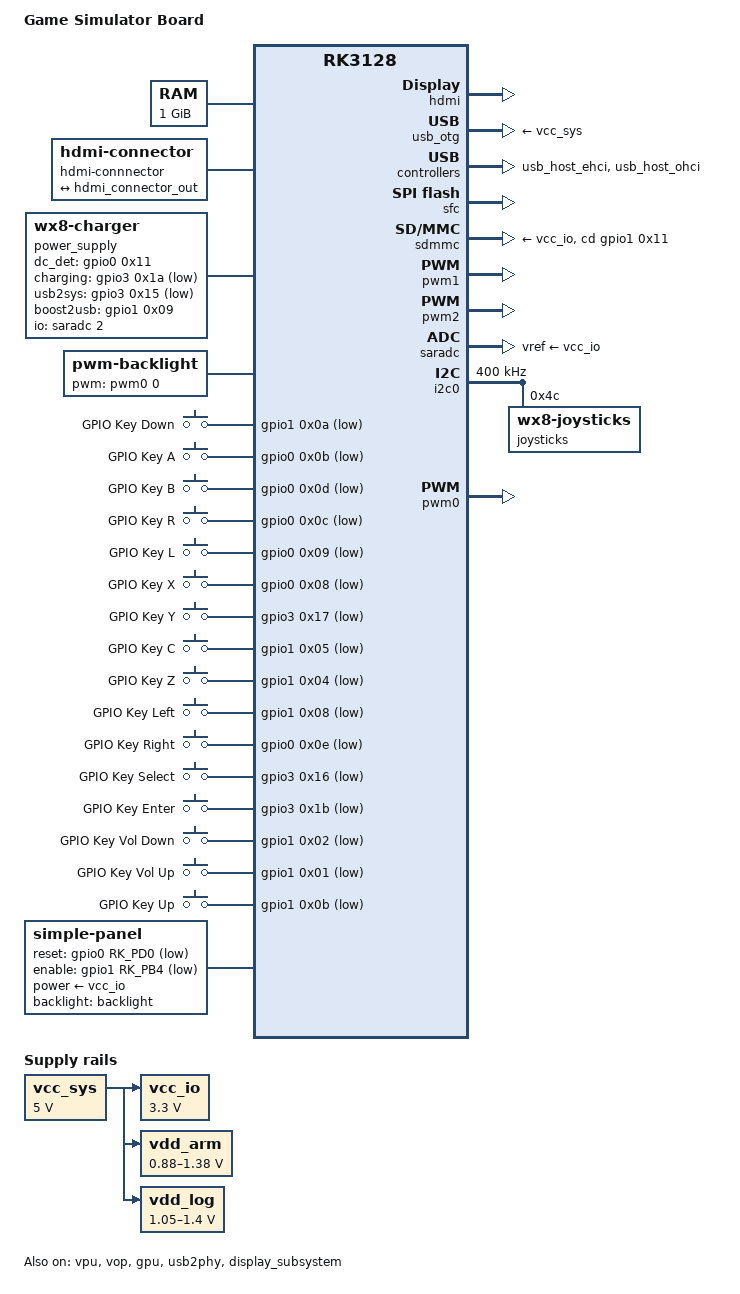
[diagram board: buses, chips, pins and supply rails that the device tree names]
/*
 * (C) Copyright 2017 Rockchip Electronics Co., Ltd
 * (C) Copyright 2021 Martin Cerveny
 *
 * SPDX-License-Identifier:     GPL-2.0+
 */

/dts-v1/;

#include <dt-bindings/input/input.h>
#include <dt-bindings/leds/common.h>

#include "rockchip/rk3128.dtsi"

/ {
	model = "Game Simulator Board";
	compatible = "rockchip,rk3128-gamesim", "rockchip,rk3128";

	aliases {
		mmc0 = &emmc;
		mmc1 = &sdmmc;
	};

	memory@60000000 {
		device_type = "memory";
		reg = <0x60000000 0x40000000>;
	};

	chosen {
		stdout-path = &uart0;
	};

	vcc_sys: vcc-sys-regulator { // from USB OTG or from battery
		compatible = "regulator-fixed";
		regulator-name = "vcc_sys";
		regulator-min-microvolt = <5000000>;
		regulator-max-microvolt = <5000000>;
		regulator-always-on;
		regulator-boot-on;
	};

	vcc_io: vcc-io-regulator {
		compatible = "regulator-fixed";
		regulator-name = "vcc_io";
		regulator-min-microvolt = <3300000>;
		regulator-max-microvolt = <3300000>;
		vin-supply = <&vcc_sys>;
		regulator-always-on;
		regulator-boot-on;
	};

	hdmi-connnector {
		compatible = "hdmi-connector";
		type = "a";

		port {
			hdmi_connector_in: endpoint {
				remote-endpoint = <&hdmi_connector_out>;
			};
		};
	};

	vdd_arm: vdd-arm-regulator {
		compatible = "pwm-regulator";
		regulator-name = "vdd_arm";
		pwms = <&pwm1 0 5000 0>;
		pwm-supply = <&vcc_sys>;
		pwm-dutycycle-range = <100 0>;
		pwm-dutycycle-unit = <100>;
		regulator-min-microvolt = <880000>;
		regulator-max-microvolt = <1380000>;
		regulator-init-microvolt = <1100000>;
		regulator-early-min-microvolt = <1100000>;
	};

	/*
	 * Since there are HW blocks in PD_LOGIC (which are all driven by
	 * this supply), that either do not have a driver at all or the
	 * driver does not implement regulator support we have to make
	 * sure here that the voltage never drops below 1050 mV.
	 */
	vdd_log: vdd-log-regulator {
		compatible = "pwm-regulator";
		regulator-name = "vdd_log";
		pwms = <&pwm2 0 25000 1>;
		pwm-dutycycle-range = <30 100>;
		pwm-supply = <&vcc_sys>;
		/*regulator-min-microvolt = <900000>;*/
		regulator-min-microvolt = <1050000>;
		regulator-max-microvolt = <1400000>;
		regulator-ramp-delay = <4000>;
		regulator-always-on;
		regulator-boot-on;
	};

	/*fiq-debugger {
		compatible = "rockchip,fiq-debugger";
		rockchip,serial-id = <0>;
		rockchip,wake-irq = <159>;
		pinctrl-0 = <&uart0_xfer>;
		pinctrl-names = "default";
		rockchip,irq-mode-enable = <1>;
		rockchip,baudrate = <115200>;
		status = "okay";
	};*/

	/*reserved-memory {
		#address-cells = <0x01>;
		#size-cells = <0x01>;
		ranges;

		drm_logo: drm-logo@0 {
			compatible = "rockchip,drm-logo";
			reg = <0x00 0x00>;
		};
	};*/

	/*sound: sound {
		compatible = "simple-audio-card";
		simple-audio-card,format = "i2s";
		simple-audio-card,mclk-fs = <0x100>;
		simple-audio-card,name = "rockchip,rk312x-codec";
		simple-audio-card,routing = "Headphone Jack", "HiFi Playback";
		simple-audio-card,widgets = "Headphone", "Headphone Jack";

		simple-audio-card,dai-link@0 {
			format = "i2s";

			codec {
				sound-dai = <&codec>;
			};

			cpu {
				sound-dai = <&i2s_8ch>;
			};
		};

		simple-audio-card,dai-link@1 {
			format = "i2s";

			codec {
				sound-dai = <&hdmi>;
			};

			cpu {
				sound-dai = <&i2s_8ch>;
			};
		};
	};*/

	power_supply: power-supply {
		compatible = "wx8-charger";

		pinctrl-0 = <&charging_gpio &dc_det_gpio &usb2sys_gpio &boost2usb_gpio>;
		pinctrl-names = "default";

		dc_det_gpio = <&gpio0 0x11 GPIO_ACTIVE_HIGH>;	// input, works only when usb2sys_gpio
		charging_gpio = <&gpio3 0x1a GPIO_ACTIVE_LOW>;	// input, /CHRG output from TP4056

		// both output cannot be active in same time (eg. LOW-LOW or HIGH-HIGH is allowed), beaware loop boost->usb->sys->boost
		usb2sys_gpio = <&gpio3 0x15 GPIO_ACTIVE_LOW>;	// output, power switch "vcc_usb" -> "vcc_sys" & "vcc_charger"
		boost2usb_gpio = <&gpio1 0x09 GPIO_ACTIVE_HIGH>;// output, power switch "vcc_booster" -> vcc_usb"

		io-channels = <&saradc 2>;
		ref_voltage = <3300>; 		// mV, from saradc -> vref-supply -> ?
		voltage_divider = <200 200>; 	// adc resistor divider

		extcon = <&usb2phy>;
	};
};

&cpu0 {
	cpu-supply = <&vdd_arm>;
};


/*&dfi {
	status = "okay";
};*/

/*&dmc {
	status = "okay";
	center-supply = <&vdd_log>;
	vop-dclk-mode = <1>;
};*/

/*&soc_thermal {
	trips {
		soc_crit: soc-crit {
			hysteresis = <2000>;
			temperature = <115000>;
			type = "critical";
		};
	};
};*/

/*&tsadc {
	status = "okay";
};*/

/*&rng {
	status = "okay";
};*/

/*&hevc {
	status = "okay";
};

&hevc_mmu {
	status = "okay";
};*/

/*&vpu_combo {
	status = "okay";
};

&rga  {
	status = "okay";
};*/

&vpu {
	status = "okay";
};

&vpu_mmu {
	status = "okay";
};

&vop {
	status = "okay";
};

&gpu {
	mali-supply = <&vdd_log>;
	status = "okay";
};

&hdmi {
	status = "okay";
};

&hdmi_out {
	hdmi_connector_out: endpoint {
		remote-endpoint = <&hdmi_connector_in>;
	};
};

&usb_otg {
	status = "okay";
	vbus-supply = <&vcc_sys>;
};

&usb_host_ehci {
	status = "okay";
};

&usb_host_ohci {
	status = "okay";
};

/*&i2s_8ch  {
	status = "okay";
	#sound-dai-cells = <0>;
};*/

&sfc {
	status = "okay";
};

&sdmmc {
	status = "okay";

	supports-sd;
	broken-cd;

	card-detect-delay = <200>;
	ignore-pm-notify;
	keep-power-in-suspend;
	vmmc-supply = <&vcc_io>;
	vqmmc-supply = <&vcc_io>;

	cd-gpios = <&gpio1 0x11 0x00>;

	cap-mmc-highspeed;
	cap-sd-highspeed;

	clock-frequency = <37500000>;
	max-frequency = <37500000>;
	num-slots = <1>;
};

&usb2phy {
	status = "okay";
};


/*&codec {
	status = "okay";

	#sound-dai-cells = <0>;
	capture_volume = <0x1a>;
	codec_hp_det = <1>;
	gpio_debug = <1>;

	hp-mute-delay = <0x05>;
	hp_volume = <0x19>;

	spk-ctl-gpios = <&gpio1 0x03 0x00>;
	spk-mute-delay = <0x05>;
	spk_volume = <0x19>;

	rk312x_for_mid = <0>;
	is_rk3128 = <1>;
};*/

&pwm1 {
	status = "okay";
};

&pwm2 {
	status = "okay";
};

&saradc {
	vref-supply = <&vcc_io>;
	status = "okay";
};

&i2c0 {
	status = "okay";

	clock-frequency = <400000>;

	i2c-scl-falling-time-ns = <0x0b>;
	i2c-scl-rising-time-ns = <0x109>;

	joysticks: i2cjoy@4c {
		compatible = "wx8-joysticks";
		reg = <0x4c>;
	};
};


&pinctrl {
	lcdc {
		lcd_enable: lcd-enable {
			rockchip,pins = <1 RK_PB4 RK_FUNC_GPIO &pcfg_pull_none>;
		};

		lcd_reset: lcd-reset {
			rockchip,pins = <0 RK_PD0 RK_FUNC_GPIO &pcfg_pull_none>;
		};
	};

	buttons {

		game_keys: game-keys {
			rockchip,pins = <1 0x04 RK_FUNC_GPIO &pcfg_pull_default
					 1 0x05 RK_FUNC_GPIO &pcfg_pull_default
					 0 0x08 RK_FUNC_GPIO &pcfg_pull_default
					 0 0x09 RK_FUNC_GPIO &pcfg_pull_default
					 0 0x0b RK_FUNC_GPIO &pcfg_pull_default
					 0 0x0c RK_FUNC_GPIO &pcfg_pull_default
					 0 0x0d RK_FUNC_GPIO &pcfg_pull_default
					 0 0x0e RK_FUNC_GPIO &pcfg_pull_default
					 1 0x08 RK_FUNC_GPIO &pcfg_pull_default
					 1 0x0a RK_FUNC_GPIO &pcfg_pull_default
					 1 0x0b RK_FUNC_GPIO &pcfg_pull_default
					 3 0x16 RK_FUNC_GPIO &pcfg_pull_default
					 3 0x17 RK_FUNC_GPIO &pcfg_pull_default
					 3 0x1b RK_FUNC_GPIO &pcfg_pull_default
					 1 0x01 RK_FUNC_GPIO &pcfg_pull_default
					 1 0x02 RK_FUNC_GPIO &pcfg_pull_default
					 >;
		};
	};

	power {
		charging_gpio: charging-gpio {
			rockchip,pins = <3 0x1a RK_FUNC_GPIO &pcfg_pull_default>;
		};

		usb2sys_gpio: usb2sys-gpio {
			rockchip,pins = <3 0x15 RK_FUNC_GPIO &pcfg_pull_default>;
		};

		boost2usb_gpio: boost2usb-gpio {
			rockchip,pins = <1 0x09 RK_FUNC_GPIO &pcfg_pull_default>;
		};

		dc_det_gpio: dc-det-gpio {
			rockchip,pins = <0 0x11 RK_FUNC_GPIO &pcfg_pull_default>;
		};
	};

	unresolved {
		// now over /sys/class/gpio/
		boosters_enable: boosters-enable {
			rockchip,pins = <2 0x1d RK_FUNC_GPIO &pcfg_pull_default>;
		};

		// unknown driver compatible = "rockchip,rk3126-usb-control"
		host_drv_gpio: host-drv-gpio {
			rockchip,pins = <3 0x14 RK_FUNC_GPIO &pcfg_pull_default>;
		};

		// unknown driver function in original driver compatible = "rk30-adc-battery"
		chg_en: chg-en {
			rockchip,pins = <3 0x11 RK_FUNC_GPIO &pcfg_pull_default>;
		};

		// unknown driver function in original driver compatible = "rk30-adc-battery"
		led_power_gpio: led-power-gpio {
			rockchip,pins = <1 0x07 RK_FUNC_GPIO &pcfg_pull_default>;
		};
	};
};

/ {
	backlight: backlight {
		compatible = "pwm-backlight";
		pwms = <&pwm0 0 25000 0>;
		default-brightness-level = <200>;
		brightness-levels = <
			  0   1   2   3   4   5   6   7
			  8   9  10  11  12  13  14  15
			 16  17  18  19  20  21  22  23
			 24  25  26  27  28  29  30  31
			 32  33  34  35  36  37  38  39
			 40  41  42  43  44  45  46  47
			 48  49  50  51  52  53  54  55
			 56  57  58  59  60  61  62  63
			 64  65  66  67  68  69  70  71
			 72  73  74  75  76  77  78  79
			 80  81  82  83  84  85  86  87
			 88  89  90  91  92  93  94  95
			 96  97  98  99 100 101 102 103
			104 105 106 107 108 109 110 111
			112 113 114 115 116 117 118 119
			120 121 122 123 124 125 126 127
			128 129 130 131 132 133 134 135
			136 137 138 139 140 141 142 143
			144 145 146 147 148 149 150 151
			152 153 154 155 156 157 158 159
			160 161 162 163 164 165 166 167
			168 169 170 171 172 173 174 175
			176 177 178 179 180 181 182 183
			184 185 186 187 188 189 190 191
			192 193 194 195 196 197 198 199
			200 201 202 203 204 205 206 207
			208 209 210 211 212 213 214 215
			216 217 218 219 220 221 222 223
			224 225 226 227 228 229 230 231
			232 233 234 235 236 237 238 239
			240 241 242 243 244 245 246 247
			248 249 250 251 252 253 254 255>;
		status = "okay";

	};

	keys {
		autorepeat;
		compatible = "gpio-keys";
		pinctrl-0 = <&game_keys>;
		pinctrl-names = "default";

		down {
			debounce-interval = <20>;
			gpios = <&gpio1 0x0a 0x01>;
			label = "GPIO Key Down";
			linux,code = <KEY_DOWN>;
		};

		f1 {
			debounce-interval = <20>;
			gpios = <&gpio0 0x0b 0x01>;
			label = "GPIO Key A";
			linux,code = <KEY_A>;
		};

		f2 {
			debounce-interval = <20>;
			gpios = <&gpio0 0x0d 0x01>;
			label = "GPIO Key B";
			linux,code = <KEY_B>;
		};

		f3 {
			debounce-interval = <20>;
			gpios = <&gpio0 0x0c 0x01>;
			label = "GPIO Key R";
			linux,code = <KEY_R>;
		};

		f4 {
			debounce-interval = <20>;
			gpios = <&gpio0 0x09 0x01>;
			label = "GPIO Key L";
			linux,code = <KEY_L>;
		};

		f5 {
			debounce-interval = <20>;
			gpios = <&gpio0 0x08 0x01>;
			label = "GPIO Key X";
			linux,code = <KEY_X>;
		};

		f6 {
			debounce-interval = <20>;
			gpios = <&gpio3 0x17 0x01>;
			label = "GPIO Key Y";
			linux,code = <KEY_Y>;
		};

		f7 {
			debounce-interval = <20>;
			gpios = <&gpio1 0x05 0x01>;
			label = "GPIO Key C";
			linux,code = <KEY_C>;
		};

		f8 {
			debounce-interval = <20>;
			gpios = <&gpio1 0x04 0x01>;
			label = "GPIO Key Z";
			linux,code = <KEY_Z>;
		};

		left {
			debounce-interval = <20>;
			gpios = <&gpio1 0x08 0x01>;
			label = "GPIO Key Left";
			linux,code = <KEY_LEFT>;
		};

		right {
			debounce-interval = <20>;
			gpios = <&gpio0 0x0e 0x01>;
			label = "GPIO Key Right";
			linux,code = <KEY_RIGHT>;
		};

		select {
			debounce-interval = <20>;
			gpios = <&gpio3 0x16 0x01>;
			label = "GPIO Key Select";
			linux,code = <KEY_RIGHTSHIFT>;
		};

		start {
			debounce-interval = <20>;
			gpios = <&gpio3 0x1b 0x01>;
			label = "GPIO Key Enter";
			linux,code = <KEY_ENTER>;
		};

		vol-down-key {
			debounce-interval = <20>;
			gpios = <&gpio1 0x02 0x01>;
			label = "GPIO Key Vol Down";
			linux,code = <KEY_VOLUMEDOWN>;
		};

		vol-up-key {
			debounce-interval = <20>;
			gpios = <&gpio1 0x01 0x01>;
			label = "GPIO Key Vol Up";
			linux,code = <KEY_VOLUMEUP>;
		};

		up {
			debounce-interval = <20>;
			gpios = <&gpio1 0x0b 0x01>;
			label = "GPIO Key Up";
			linux,code = <KEY_UP>;
		};
	};

	panel {
		compatible = "simple-panel";
		power-supply = <&vcc_io>;
		backlight = <&backlight>;
		pinctrl-names = "default";
		pinctrl-0 = <&lcd_reset &lcd_enable>;
		reset-gpios = <&gpio0 RK_PD0 GPIO_ACTIVE_LOW>;
		enable-gpios = <&gpio1 RK_PB4 GPIO_ACTIVE_LOW>;
		reset-delay-ms = <60>;
		enable-delay-ms = <100>;
		prepare-delay-ms = <100>;
		unprepare-delay-ms = <2000>;
		init-delay-ms = <1000>;

		height-mm = <86>;
		width-mm = <0x154>;
		/*bus-format = <MEDIA_BUS_FMT_RGB888_1X24>;*/

		display-timings {
			native-mode = <&timing0>;

			timing0: timing0 {
				clock-frequency = <51200000>;

				hactive = <1024>;
				vactive = <600>;

				hback-porch = <140>;
				hfront-porch = <160>;
				hsync-active = <0>;
				hsync-len = <20>;
				vback-porch = <20>;
				vfront-porch = <12>;
				vsync-active = <0>;
				vsync-len = <3>;

				de-active = <0>;
				pixelclk-active = <1>;
			};
		};

		/*port {
			panel_in_rgb: endpoint {
				remote-endpoint = <&rgb_out_panel>;
			};
		};*/
	};
};

&joysticks {
	axes = <ABS_RZ ABS_Z ABS_Y ABS_X>;
	keys = <KEY_B KEY_Y KEY_X KEY_A KEY_DOWN KEY_UP KEY_LEFT KEY_RIGHT>;
};

&power_supply {
        discharge_table = <3500 3586 3636 3663 3724 3744 3760 3773 3772 3794 3806 3854 3897 3949 3986 4035 4075 4118 4150>;	// mV
        charge_table =    <3600 3900 3928 3965 3994 4015 4023 4045 4059 4096 4133 4171 4250>;	// mV, without mA cannot determine charging in CV part

        design_capacity = <4000>;	// mAh, battery "595490"
};

&pwm0 {
	status = "okay";
};

&display_subsystem {
	status = "okay";
	route {
		/*route_rgb: route-rgb {
			connect = <&vop_out_rgb>;
			status = "okay";
		};*/

		route_hdmi: route-hdmi {
			connect = <&vop_out_hdmi>;
			status = "okay";
		};
	};

};

&dphy {
	status = "disabled";
};

/*&rgb {
	status = "okay";

	ports {
		port@1 {
			reg = <1>;

			rgb_out_panel: endpoint {
				remote-endpoint = <&panel_in_rgb>;
			};
		};
	};
};*/
